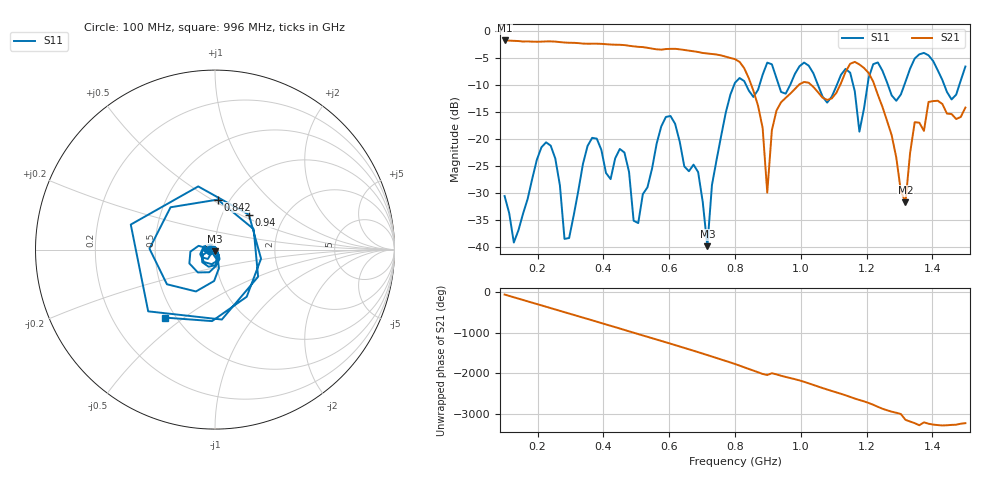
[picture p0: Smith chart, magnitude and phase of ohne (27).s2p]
! NanoVNA-App
! Date: 2025-09-26 09:55:36
! Start: 100MHz Stop: 1,5GHz Points: 101
! S-Parameter data: F S11 S21 S12 S22
# Hz S RI R 50
!  Frequency  S11_Real  S11_Imag  S21_Real  S21_Imag  S12_Real  S12_Imag  S22_Real  S22_Imag
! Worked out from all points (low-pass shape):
!   101 points, 100 MHz to 1.5 GHz, reference 50 ohm
!   highest |S21| = -1.79 dB at 100 MHz (marker M1); lowest = -31.8 dB at 1.318 GHz (marker M2)
!   |S21| within 3 dB of the highest: start of sweep to 771.8 MHz
!   lowest |S11| = -39.9 dB at 716 MHz (marker M3), VSWR 1.02, Z = 49.8 - j0.99 ohm
!   |S11| at or under -10 dB: start of sweep to 797.6 MHz; 833.4 MHz to 874.7 MHz (41.32 MHz wide, 4.84 % of centre); 1.052 GHz to 1.11 GHz (57.87 MHz wide, 5.35 % of centre)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
!   S12 and S22 are empty: the file has one direction only
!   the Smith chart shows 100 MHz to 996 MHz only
!   S11 on the Smith chart (normalised r, x): 100 MHz: 0.94, -0.01; 842 MHz: 0.88, +0.53; 940 MHz: 1.33, +0.56; 996 MHz: 0.44, -0.43
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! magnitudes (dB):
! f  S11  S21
! 100 MHz  -30.6  -1.8
! 128 MHz  -39.2  -1.9
! 226 MHz  -20.7  -2.0
! 296 MHz  -38.4  -2.2
! 338 MHz  -24.7  -2.4
! 464 MHz  -22.6  -2.6
! 506 MHz  -35.6  -3.0
! 576 MHz  -17.7  -3.5
! 688 MHz  -26.2  -3.9
! 716 MHz  -39.9  -4.2
! 800 MHz  -9.6  -5.3
! 842 MHz  -11.1  -8.8
! 898 MHz  -5.9  -30.0
! 940 MHz  -11.3  -13.2
! 996 MHz  -6.6  -9.9
! 1.038 GHz  -7.9  -10.4
! 1.178 GHz  -18.7  -6.2
! 1.22 GHz  -6.2  -9.4
! 1.276 GHz  -12.0  -19.4
! 1.318 GHz  -9.5  -31.8
! 1.346 GHz  -5.1  -16.9
! 1.5 GHz  -6.6  -14.2
